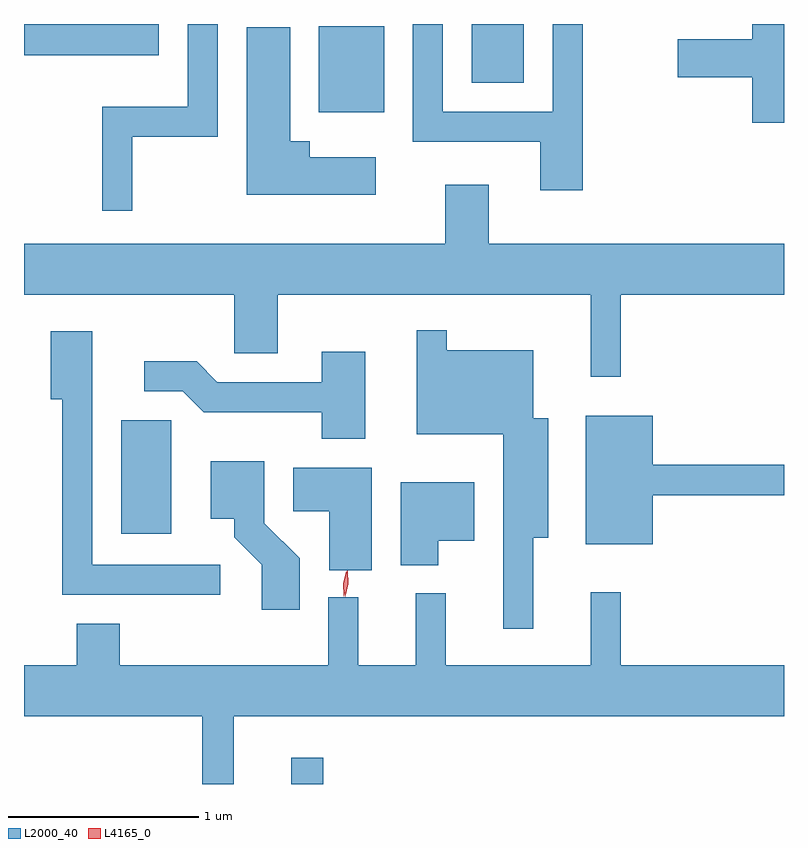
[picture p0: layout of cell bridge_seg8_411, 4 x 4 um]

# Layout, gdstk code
import gdstk
lib = gdstk.Library(unit=1e-6, precision=1e-09)
def R(c, l, rs):  # rectangles x0, y0, x1, y1
    for r in rs: c.add(gdstk.rectangle(r[:2], r[2:], *l))
def P(c, l, *ps):  # polygons
    for p in ps: c.add(gdstk.Polygon(p, *l))
L2000_40 = (2000, 40)
L4165_0 = (4165, 0)

bridge_seg8_411 = lib.new_cell('bridge_seg8_411')
R(bridge_seg8_411, L2000_40, [(826.321,1836.06,826.489,1836.198), (825.426,1837.376,825.689,1837.974), (826.466,1839.596,826.809,1840.049), (827.271,1839.751,827.544,1840.06), (824.914,1839.896,825.624,1840.06)])
P(bridge_seg8_411, L2000_40, [(828.914,1840.06),(828.746,1840.06),(828.746,1839.979),(828.356,1839.979),(828.356,1839.781),(828.746,1839.781),(828.746,1839.541),(828.914,1839.541)],
  [(827.854,1840.06),(827.696,1840.06),(827.696,1839.599),(827.119,1839.599),(827.119,1840.06),(826.961,1840.06),(826.961,1839.441),(827.631,1839.441),(827.631,1839.186),(827.854,1839.186)],
  [(825.484,1839.466),(825.934,1839.466),(825.934,1840.06),(825.776,1840.06),(825.776,1839.624),(825.326,1839.624),(825.326,1839.078),(825.484,1839.078)],
  [(826.764,1839.359),(826.419,1839.359),(826.419,1839.444),(826.314,1839.444),(826.314,1840.044),(826.086,1840.044),(826.086,1839.161),(826.764,1839.161)],
  [(828.054,1838.636),(828.914,1838.636),(828.914,1838.904),(827.359,1838.904),(827.359,1839.214),(827.131,1839.214),(827.131,1838.904),(824.914,1838.904),(824.914,1838.636),(826.021,1838.636),(826.021,1838.326),(826.249,1838.326),(826.249,1838.636),(827.896,1838.636),(827.896,1838.203),(828.054,1838.203)],
  [(827.594,1837.356),(827.674,1837.356),(827.674,1837.984),(827.594,1837.984),(827.594,1838.344),(827.139,1838.344),(827.139,1838.448),(826.981,1838.448),(826.981,1837.901),(827.436,1837.901),(827.436,1836.878),(827.594,1836.878)],
  [(825.948,1837.214),(825.274,1837.214),(825.274,1838.444),(825.056,1838.444),(825.056,1838.086),(825.116,1838.086),(825.116,1837.056),(825.948,1837.056)],
  [(826.709,1838.334),(826.481,1838.334),(826.481,1838.174),(825.932,1838.174),(825.822,1838.284),(825.548,1838.284),(825.548,1838.126),(825.749,1838.126),(825.859,1838.016),(826.481,1838.016),(826.481,1837.876),(826.709,1837.876)],
  [(828.224,1837.581),(828.914,1837.581),(828.914,1837.739),(828.224,1837.739),(828.224,1837.999),(827.871,1837.999),(827.871,1837.321),(828.224,1837.321)],
  [(826.364,1837.247),(826.179,1837.432),(826.179,1837.759),(825.896,1837.759),(825.896,1837.456),(826.021,1837.456),(826.021,1837.359),(826.166,1837.214),(826.166,1836.976),(826.364,1836.976)],
  [(826.744,1837.724),(826.331,1837.724),(826.331,1837.496),(826.521,1837.496),(826.521,1837.186),(826.744,1837.186)],
  [(827.094,1837.341),(827.284,1837.341),(827.284,1837.649),(826.896,1837.649),(826.896,1837.211),(827.094,1837.211)],
  [(826.019,1836.416),(828.914,1836.416),(828.914,1836.684),(828.054,1836.684),(828.054,1837.068),(827.896,1837.068),(827.896,1836.684),(827.134,1836.684),(827.134,1837.063),(826.976,1837.063),(826.976,1836.684),(826.674,1836.684),(826.674,1837.043),(826.516,1837.043),(826.516,1836.684),(825.419,1836.684),(825.419,1836.904),(825.191,1836.904),(825.191,1836.684),(824.914,1836.684),(824.914,1836.416),(825.851,1836.416),(825.851,1836.06),(826.019,1836.06)])
P(bridge_seg8_411, L4165_0, [(826.597,1837.049),(826.597,1837.049),(826.594,1837.116),(826.61,1837.18),(826.61,1837.181),(826.611,1837.18),(826.614,1837.114),(826.598,1837.049)],
  [(826.605,1837.045),(826.605,1837.045),(826.601,1837.115),(826.616,1837.182),(826.616,1837.183),(826.617,1837.182),(826.621,1837.113),(826.606,1837.045)])

lib.write_gds('bridge_seg8_411.gds')
